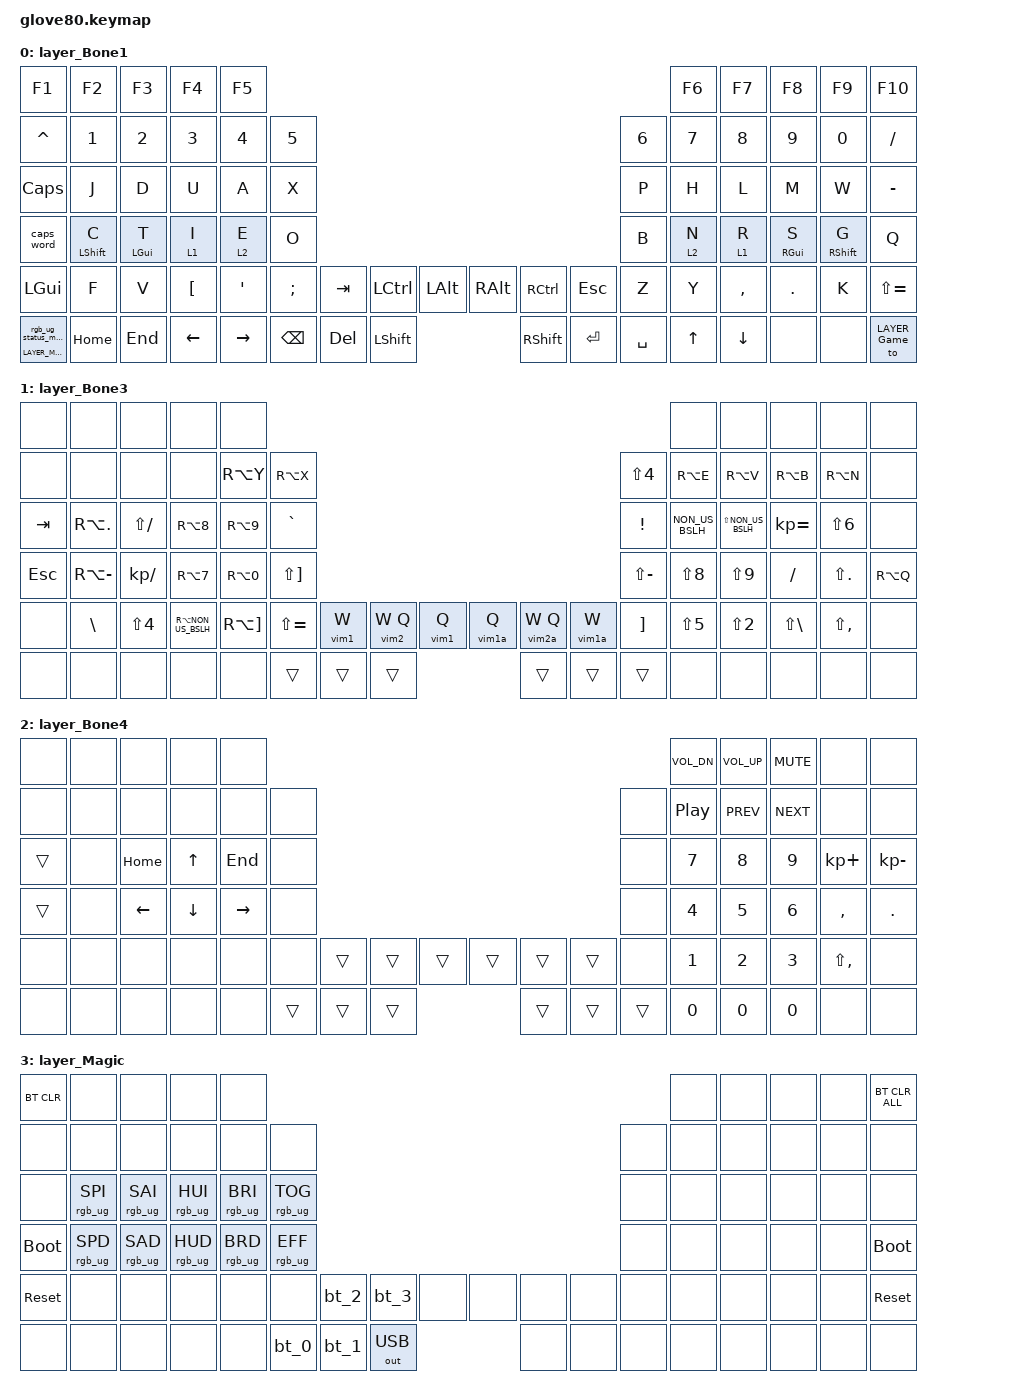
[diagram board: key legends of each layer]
#include <behaviors.dtsi>
#include <dt-bindings/zmk/outputs.h>
#include <dt-bindings/zmk/keys.h>
#include <dt-bindings/zmk/bt.h>
#include <dt-bindings/zmk/rgb.h>

#include "glove80.dtsi"

#define LAYER_Bone1 0
#define LAYER_Bone3 1
#define LAYER_Bone4 2
#define LAYER_Magic 3
#define LAYER_Game  4

/* To deal with the situation where there is no Lower layer, to keep &lower happy */
#ifndef LAYER_Lower
#define LAYER_Lower 0
#endif

#ifndef RGB_STATUS
#define RGB_STATUS 0
#endif


/* Glove80 system behavior & macros */
/ {
    behaviors {
        // For the "layer" key, it'd nice to be able to use it as either a shift or a toggle.
        // Configure it as a tap dance, so the first tap (or hold) is a &mo and the second tap is a &to
        lower: lower {
            compatible = "zmk,behavior-tap-dance";
            label = "LAYER_TAP_DANCE";
            #binding-cells = <0>;
            tapping-term-ms = <200>;
            bindings = <&mo LAYER_Lower>, <&to LAYER_Lower>;
        };
    };
};

/ {
    macros {
        rgb_ug_status_macro: rgb_ug_status_macro {
            label = "RGB_UG_STATUS";
            compatible = "zmk,behavior-macro";
            #binding-cells = <0>;
            bindings
                = <&rgb_ug RGB_STATUS>;
        };
    };
};


/ {
#ifdef BT_DISC_CMD
    behaviors {
        bt_0: bt_0 {
            compatible = "zmk,behavior-tap-dance";
            label = "BT_0";
            #binding-cells = <0>;
            tapping-term-ms = <200>;
            bindings = <&bt_select_0>, <&bt BT_DISC 0>;
        };
        bt_1: bt_1 {
            compatible = "zmk,behavior-tap-dance";
            label = "BT_1";
            #binding-cells = <0>;
            tapping-term-ms = <200>;
            bindings = <&bt_select_1>, <&bt BT_DISC 1>;
        };
        bt_2: bt_2 {
            compatible = "zmk,behavior-tap-dance";
            label = "BT_2";
            #binding-cells = <0>;
            tapping-term-ms = <200>;
            bindings = <&bt_select_2>, <&bt BT_DISC 2>;
        };
        bt_3: bt_3 {
            compatible = "zmk,behavior-tap-dance";
            label = "BT_3";
            #binding-cells = <0>;
            tapping-term-ms = <200>;
            bindings = <&bt_select_3>, <&bt BT_DISC 3>;
        };
    };
    macros {
        bt_select_0: bt_select_0 {
            label = "BT_SELECT_0";
            compatible = "zmk,behavior-macro";
            #binding-cells = <0>;
            bindings
                = <&out OUT_BLE>,
                  <&bt BT_SEL 0>;
        };
        bt_select_1: bt_select_1 {
            label = "BT_SELECT_1";
            compatible = "zmk,behavior-macro";
            #binding-cells = <0>;
            bindings
                = <&out OUT_BLE>,
                  <&bt BT_SEL 1>;
        };
        bt_select_2: bt_select_2 {
            label = "BT_SELECT_2";
            compatible = "zmk,behavior-macro";
            #binding-cells = <0>;
            bindings
                = <&out OUT_BLE>,
                  <&bt BT_SEL 2>;
        };
        bt_select_3: bt_select_3 {
            label = "BT_SELECT_3";
            compatible = "zmk,behavior-macro";
            #binding-cells = <0>;
            bindings
                = <&out OUT_BLE>,
                  <&bt BT_SEL 3>;
        };
    };
#else
    macros {
        bt_0: bt_0 {
            label = "BT_0";
            compatible = "zmk,behavior-macro";
            #binding-cells = <0>;
            bindings
                = <&out OUT_BLE>,
                  <&bt BT_SEL 0>;
        };
        bt_1: bt_1 {
            label = "BT_1";
            compatible = "zmk,behavior-macro";
            #binding-cells = <0>;
            bindings
                = <&out OUT_BLE>,
                  <&bt BT_SEL 1>;
        };
        bt_2: bt_2 {
            label = "BT_2";
            compatible = "zmk,behavior-macro";
            #binding-cells = <0>;
            bindings
                = <&out OUT_BLE>,
                  <&bt BT_SEL 2>;
        };
        bt_3: bt_3 {
            label = "BT_3";
            compatible = "zmk,behavior-macro";
            #binding-cells = <0>;
            bindings
                = <&out OUT_BLE>,
                  <&bt BT_SEL 3>;
        };
    };
#endif
};

/ {
    behaviors {
        magic: magic {
            compatible = "zmk,behavior-hold-tap";
            label = "MAGIC_HOLD_TAP";
            #binding-cells = <2>;
            flavor = "tap-preferred";
            tapping-term-ms = <200>;
            bindings = <&mo>, <&rgb_ug_status_macro>;
        };
    };
};

// Homerow Mods
#define HRM_FLAVOR "balanced"
#define HRM_TAPPING_TERM_MS 300
#define HRM_REQUIRE_PRIOR_IDLE_MS 125

/ {
    behaviors {
        lhrm: left_homerow_mods {
            compatible = "zmk,behavior-hold-tap";
            #binding-cells = <2>;
            flavor = HRM_FLAVOR;
            hold-trigger-key-positions = <RIGHT_HAND_KEYS THUMB_KEYS>;
            hold-trigger-on-release;
            tapping-term-ms = <HRM_TAPPING_TERM_MS>;
            require-prior-idle-ms = <HRM_REQUIRE_PRIOR_IDLE_MS>;
            bindings = <&kp>, <&kp>;
        };
        rhrm: right_homerow_mods {
            compatible = "zmk,behavior-hold-tap";
            #binding-cells = <2>;
            flavor = HRM_FLAVOR;
            hold-trigger-key-positions = <LEFT_HAND_KEYS THUMB_KEYS>;
            hold-trigger-on-release;
            tapping-term-ms = <HRM_TAPPING_TERM_MS>;
            require-prior-idle-ms = <HRM_REQUIRE_PRIOR_IDLE_MS>;
            bindings = <&kp>, <&kp>;
        };
        lhrml: left_homerow_mods_layer {
            compatible = "zmk,behavior-hold-tap";
            #binding-cells = <2>;
            flavor = HRM_FLAVOR;
            hold-trigger-key-positions = <RIGHT_HAND_KEYS THUMB_KEYS>;
            hold-trigger-on-release;
            tapping-term-ms = <HRM_TAPPING_TERM_MS>;
            require-prior-idle-ms = <HRM_REQUIRE_PRIOR_IDLE_MS>;
            bindings = <&mo>, <&kp>;
        };
        rhrml: right_homerow_mods_layer {
            compatible = "zmk,behavior-hold-tap";
            #binding-cells = <2>;
            flavor = HRM_FLAVOR;
            hold-trigger-key-positions = <LEFT_HAND_KEYS THUMB_KEYS>;
            hold-trigger-on-release;
            tapping-term-ms = <HRM_TAPPING_TERM_MS>;
            require-prior-idle-ms = <HRM_REQUIRE_PRIOR_IDLE_MS>;
            bindings = <&mo>, <&kp>;
        };
    };
};

/ {
    macros {
        vim1: vim1 {
            compatible = "zmk,behavior-macro-one-param";
            #binding-cells = <1>;
            wait-ms = <35>;
            tap-ms = <35>;
            bindings
                = <&kp ESC>,
                  <&kp LS(DOT)>,
                  <&macro_param_1to1>, <&kp MACRO_PLACEHOLDER>,
                  <&kp RET>;
        };
        vim2: vim2 {
            compatible = "zmk,behavior-macro-two-param";
            #binding-cells = <2>;
            wait-ms = <35>;
            tap-ms = <35>;
            bindings
                = <&kp ESC>,
                  <&kp LS(DOT)>,
                  <&macro_param_1to1>, <&kp MACRO_PLACEHOLDER>,
                  <&macro_param_2to1>, <&kp MACRO_PLACEHOLDER>,
                  <&kp RET>;
        };
        vim1a: vim1a {
            compatible = "zmk,behavior-macro-one-param";
            #binding-cells = <1>;
            wait-ms = <35>;
            tap-ms = <35>;
            bindings
                = <&kp ESC>,
                  <&kp LS(DOT)>,
                  <&macro_param_1to1>, <&kp MACRO_PLACEHOLDER>,
                  <&kp A>,
                  <&kp RET>;
        };
        vim2a: vim2a {
            compatible = "zmk,behavior-macro-two-param";
            #binding-cells = <2>;
            wait-ms = <35>;
            tap-ms = <35>;
            bindings
                = <&kp ESC>,
                  <&kp LS(DOT)>,
                  <&macro_param_1to1>, <&kp MACRO_PLACEHOLDER>,
                  <&macro_param_2to1>, <&kp MACRO_PLACEHOLDER>,
                  <&kp A>,
                  <&kp RET>;
        };
   };
};


/ {
    keymap {
        compatible = "zmk,keymap";


        layer_Bone1 {
            bindings = <
               &kp F1          &kp F2        &kp F3      &kp F4      &kp F5                                                                                            &kp F6      &kp F7        &kp F8         &kp F9        &kp F10
            &kp CARET          &kp N1        &kp N2      &kp N3      &kp N4    &kp N5                                                                      &kp N6      &kp N7      &kp N8        &kp N9         &kp N0       &kp FSLH
             &kp CAPS           &kp J         &kp D       &kp U       &kp A     &kp X                                                                       &kp P       &kp H       &kp L         &kp M          &kp W      &kp MINUS
           &caps_word  &lhrm LSHIFT C  &lhrm LGUI T  &lhrml 1 I  &lhrml 2 E     &kp O                                                                       &kp B  &rhrml 2 N  &rhrml 1 R  &rhrm RGUI S &rhrm RSHIFT G          &kp Q
             &kp LGUI           &kp F         &kp V    &kp LBKT     &kp SQT  &kp SEMI    &kp TAB  &kp LCTRL     &kp LALT    &kp RALT  &kp RCTRL    &kp ESC  &kp Z       &kp Y   &kp COMMA       &kp DOT          &kp K  &kp LS(EQUAL)
 &magic LAYER_Magic 0        &kp HOME       &kp END    &kp LEFT   &kp RIGHT             &kp BSPC    &kp DEL   &kp LSHIFT  &kp RSHIFT    &kp RET  &kp SPACE             &kp UP    &kp DOWN        &none           &none &to LAYER_Game
            >;
        };

        layer_Bone3 {
            bindings = <
   &none          &none         &none                &none         &none                                                                                                         &none                &none         &none          &none      &none
   &none          &none         &none                &none     &kp RA(Y)      &kp RA(X)                                                                                     &kp LS(N4)            &kp RA(E)     &kp RA(V)      &kp RA(B)  &kp RA(N)      &none
 &kp TAB    &kp RA(DOT)  &kp LS(FSLH)           &kp RA(N8)    &kp RA(N9)      &kp GRAVE                                                                      &kp EXCL  &kp NON_US_BSLH  &kp LS(NON_US_BSLH)  &kp KP_EQUAL     &kp LS(N6)      &none
 &kp ESC  &kp RA(MINUS)  &kp KP_SLASH           &kp RA(N7)    &kp RA(N0)   &kp LS(RBKT)                                                                 &kp LS(MINUS)       &kp LS(N8)           &kp LS(N9)      &kp FSLH    &kp LS(DOT)  &kp RA(Q)
   &none       &kp BSLH    &kp LS(N4)  &kp RA(NON_US_BSLH)  &kp RA(RBKT)  &kp LS(EQUAL)  &vim1 W  &vim2 W Q  &vim1 Q  &vim1a Q   &vim2a W Q  &vim1a W        &kp RBKT       &kp LS(N5)           &kp LS(N2)  &kp LS(BSLH)  &kp LS(COMMA)      &none
   &none          &none         &none                &none         &none                  &trans     &trans   &trans   &trans      &trans   &trans                               &none                &none         &none          &none      &none
            >;
        };

        layer_Bone4 {
            bindings = <
  &none   &none     &none     &none      &none                                                                    &kp C_VOL_DN  &kp C_VOL_UP  &kp C_MUTE          &none         &none
  &none   &none     &none     &none      &none   &none                                                   &none  &kp C_PLAY_PAUSE  &kp C_PREV  &kp C_NEXT          &none         &none
 &trans   &none  &kp HOME    &kp UP    &kp END   &none                                                   &none            &kp N7      &kp N8      &kp N9    &kp KP_PLUS  &kp KP_MINUS
 &trans   &none  &kp LEFT  &kp DOWN  &kp RIGHT   &none                                                   &none            &kp N4      &kp N5      &kp N6      &kp COMMA       &kp DOT
  &none   &none     &none     &none      &none   &none  &trans  &trans  &trans  &trans  &trans  &trans   &none            &kp N1      &kp N2      &kp N3  &kp LS(COMMA)         &none
  &none   &none     &none     &none      &none          &trans  &trans  &trans  &trans  &trans  &trans                    &kp N0      &kp N0      &kp N0          &none         &none
            >;
        };

        layer_Magic {
            bindings = <
  &bt BT_CLR            &none            &none            &none            &none                                                                                  &none   &none   &none   &none  &bt BT_CLR_ALL
       &none            &none            &none            &none            &none            &none                                                         &none   &none   &none   &none   &none           &none
       &none  &rgb_ug RGB_SPI  &rgb_ug RGB_SAI  &rgb_ug RGB_HUI  &rgb_ug RGB_BRI  &rgb_ug RGB_TOG                                                         &none   &none   &none   &none   &none           &none
 &bootloader  &rgb_ug RGB_SPD  &rgb_ug RGB_SAD  &rgb_ug RGB_HUD  &rgb_ug RGB_BRD  &rgb_ug RGB_EFF                                                         &none   &none   &none   &none   &none     &bootloader
  &sys_reset            &none            &none            &none            &none            &none   &bt_2   &bt_3         &none   &none   &none   &none   &none   &none   &none   &none   &none      &sys_reset
       &none            &none            &none            &none            &none                    &bt_0   &bt_1  &out OUT_USB   &none   &none   &none           &none   &none   &none   &none           &none
            >;
        };

    };

        layer_Game {
            bindings = <
               &kp F1    &kp F2   &kp F3    &kp F4     &kp F5                                                                                      &kp F6     &kp F7   &kp F8   &kp F9             &kp F10
            &kp CARET    &kp N1   &kp N2    &kp N3     &kp N4  &kp N5                                                                      &kp N6  &kp N7     &kp N8   &kp N9   &kp N0            &kp FSLH
             &kp  TAB     &kp Q    &kp W     &kp E      &kp R   &kp T                                                                       &kp Z   &kp U      &kp I    &kp O    &kp P            &kp LBKT
              &kp ESC     &kp A    &kp S     &kp D      &kp F   &kp G                                                                       &kp H   &kp J      &kp K    &kp L  &kp SQT               &kp Q
             &kp LGUI     &kp Z    &kp X     &kp C      &kp V   &kp B   &kp TAB  &kp LCTRL     &kp LALT    &kp RALT  &kp RCTRL    &kp ESC   &kp N   &kp M  &kp COMMA  &kp DOT    &kp K       &kp LS(EQUAL)
 &magic LAYER_Magic 0  &kp HOME  &kp END  &kp LEFT  &kp RIGHT          &kp BSPC    &kp DEL   &kp LSHIFT  &kp RSHIFT    &kp RET  &kp SPACE          &kp UP   &kp DOWN    &none    &none      &to LAYER_Bone1
            >;
        };
};
